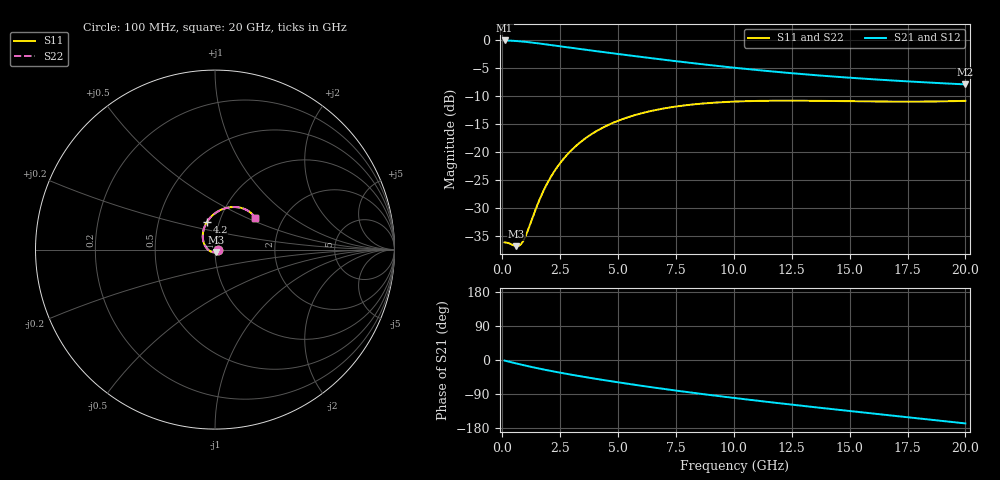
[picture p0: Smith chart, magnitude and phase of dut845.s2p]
! Touchstone file exported from HFSS 2024.1.0
!  File:  C:/UserFiles/LocalFiles/RDL_TSV_Batchsim/temp_RDL_TSV_845_1779921079.aedt
!  Generated:  06:46:21 AM May 28, 2026
!  Design:  RDL_TSV
!  Project:  temp_RDL_TSV_845_1779921079
!  Setup:  Setup1
!  Solution:  Sweep
! Variables:
!  dtsv = 12.18um
!  hbump = 3um
!  htsv = 82.63um
!  ldown = 225.01um
!  lrdl = 322.56um
!  p = 40
!  p1 = 41.33um
!  rhole = 10um
!  subl = 1965.27um
!  t = 450um
!  tdown = 2.61um
!  trdl = 4.02um
!  viad = 10um
!  wdown = 12.03um
!  wrdl = 14.33um
!  xbump = 18um
# GHz S MA R 50.000000
! Terminal data exported
! Port[1] = TM1_1_T1
! Port[2] = TM1_4_T1
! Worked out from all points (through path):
!   200 points, 100 MHz to 20 GHz, reference 50 ohm
!   highest |S21| = -0.14 dB at 100 MHz (marker M1); lowest = -8.0 dB at 20 GHz (marker M2)
!   group delay of S21, straight-line fit = 21.9 ps
!   lowest |S11| = -36.7 dB at 600 MHz (marker M3), VSWR 1.03, Z = 50.6 - j1.31 ohm
!   |S11| at or under -10 dB: start of sweep to end of sweep
!   |S22| runs from -36.7 to -10.9 dB; largest |S21 - S12| = 1e-14
!   S11 on the Smith chart (normalised r, x): 100 MHz: 1.03, -0.00; 4.2 GHz: 0.87, +0.27; 20 GHz: 1.45, +0.56
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0.1  0.01573 -8.4  0.9838 -1.6  0.9838 -1.6  0.01573 -8.4
! Gamma 0 0 0 0
! Port Impedance 50 0 50 0
0.6  0.01454 -63.1  0.9726 -9.1  0.9726 -9.1  0.01454 -63.1
0.8  0.01507 -92.8  0.9651 -12.0  0.9651 -12.0  0.01507 -92.8
0.9  0.01611 -107.9  0.9609 -13.4  0.9609 -13.4  0.01611 -107.9
1.1  0.01997 -134.7  0.9515 -16.2  0.9515 -16.2  0.01996 -134.6
1.5  0.03327 -171.0  0.9303 -21.5  0.9303 -21.5  0.03324 -170.9
1.7  0.04165 176.8  0.919 -24.0  0.919 -24.0  0.04161 176.8
1.9  0.0507 166.8  0.9074 -26.5  0.9074 -26.5  0.05064 166.8
2.2  0.06504 154.5  0.8899 -30.1  0.8899 -30.1  0.06497 154.6
2.5  0.07983 144.5  0.8726 -33.5  0.8726 -33.5  0.07974 144.5
2.8  0.0947 135.9  0.8557 -36.8  0.8557 -36.8  0.09459 135.9
3.5  0.1283 119.6  0.8181 -44.2  0.8181 -44.2  0.1282 119.6
4.2  0.1591 106.7  0.783 -51.2  0.783 -51.2  0.1589 106.8
5.4  0.2032 89.7  0.7277 -62.6  0.7277 -62.6  0.203 89.7
6.8  0.2406 74.8  0.6698 -74.9  0.6698 -74.9  0.2402 74.8
8.4  0.2672 62.2  0.6121 -87.9  0.6121 -87.9  0.2668 62.2
10.1  0.2816 52.4  0.5604 -100.8  0.5604 -100.8  0.2811 52.4
11.7  0.2863 45.9  0.5203 -112.3  0.5203 -112.3  0.2858 45.9
13.4  0.2858 41.2  0.4853 -123.9  0.4853 -123.9  0.2853 41.3
15  0.2833 38.7  0.4585 -134.6  0.4585 -134.6  0.2828 38.7
16.7  0.281 37.6  0.435 -145.8  0.435 -145.8  0.2805 37.6
20  0.2855 38.3  0.3999 -167.3  0.3999 -167.3  0.2851 38.4
